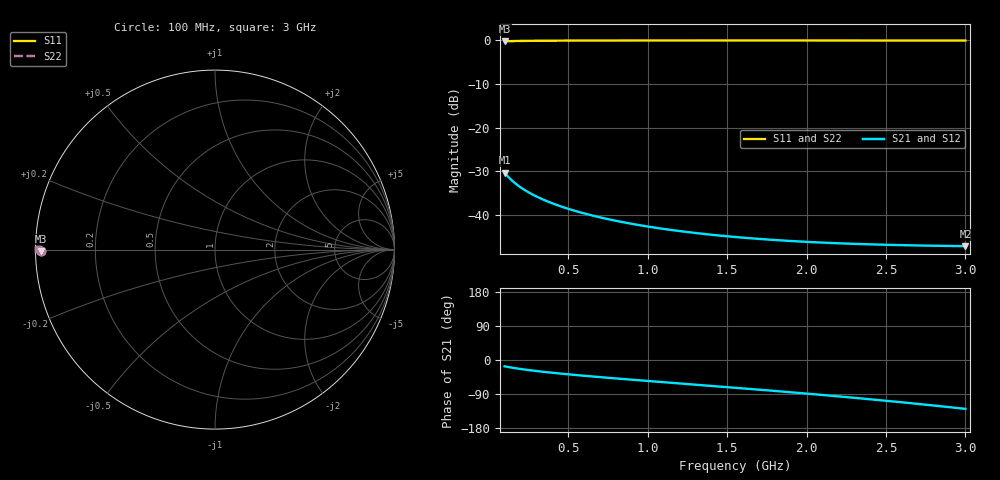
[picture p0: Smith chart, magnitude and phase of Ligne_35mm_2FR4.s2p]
# HZ S RI R 50
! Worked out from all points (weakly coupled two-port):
!   1001 points, 100 MHz to 3 GHz, reference 50 ohm
!   highest |S21| = -30.32 dB at 100 MHz (marker M1); lowest = -47.2 dB at 3 GHz (marker M2)
!   lowest |S11| = -0.3 dB at 100 MHz (marker M3), VSWR 64.09, Z = 0.78 - j0.214 ohm
!   |S11| at or under -10 dB: nowhere
!   |S22| runs from -0.3 to -0.1 dB; largest |S21 - S12| = 1e-15
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1e8  -0.9692 -0.00828  0.0292 -0.00874  0.0292 -0.00874  -0.9692 -0.00828
1.116e8  -0.971 -0.00819  0.0274 -0.0087  0.0274 -0.0087  -0.971 -0.00819
1.319e8  -0.9734 -0.00801  0.0248 -0.00862  0.0248 -0.00862  -0.9734 -0.00801
1.493e8  -0.9752 -0.00786  0.023 -0.00855  0.023 -0.00855  -0.9752 -0.00786
1.841e8  -0.9778 -0.00756  0.0201 -0.0084  0.0201 -0.0084  -0.9778 -0.00756
2.305e8  -0.9804 -0.00715  0.0172 -0.0082  0.0172 -0.0082  -0.9804 -0.00715
2.856e8  -0.9826 -0.00667  0.0148 -0.00797  0.0148 -0.00797  -0.9826 -0.00667
3.494e8  -0.9845 -0.00614  0.0126 -0.00772  0.0126 -0.00772  -0.9845 -0.00614
4.19e8  -0.9859 -0.00559  0.0109 -0.00747  0.0109 -0.00747  -0.9859 -0.00559
4.973e8  -0.9872 -0.005  0.00933 -0.00721  0.00933 -0.00721  -0.9872 -0.005
5.843e8  -0.9882 -0.00438  0.008 -0.00695  0.008 -0.00695  -0.9882 -0.00438
6.916e8  -0.9891 -0.00366  0.0067 -0.00667  0.0067 -0.00667  -0.9891 -0.00366
8.076e8  -0.9898 -0.00293  0.0056 -0.00641  0.0056 -0.00641  -0.9898 -0.00293
9.323e8  -0.9903 -0.0022  0.00464 -0.00617  0.00464 -0.00617  -0.9903 -0.0022
1.0686e9  -0.9907 -0.00144  0.00379 -0.00595  0.00379 -0.00595  -0.9907 -0.00144
1.2977e9  -0.9911 -0.000279  0.00264 -0.00563  0.00264 -0.00563  -0.9911 -0.000279
1.55e9  -0.9911 0.000882  0.00162 -0.00535  0.00162 -0.00535  -0.9911 0.000882
1.7849e9  -0.9909 0.00186  0.000803 -0.00512  0.000803 -0.00512  -0.9909 0.00186
2.0343e9  -0.9906 0.00279  1.24e-05 -0.00488  1.24e-05 -0.00488  -0.9906 0.00279
2.2663e9  -0.9901 0.00356  -0.000687 -0.00464  -0.000687 -0.00464  -0.9901 0.00356
2.5186e9  -0.9894 0.00426  -0.00143 -0.00431  -0.00143 -0.00431  -0.9894 0.00426
3e9  -0.9879 0.00514  -0.00276 -0.00341  -0.00276 -0.00341  -0.9879 0.00514
